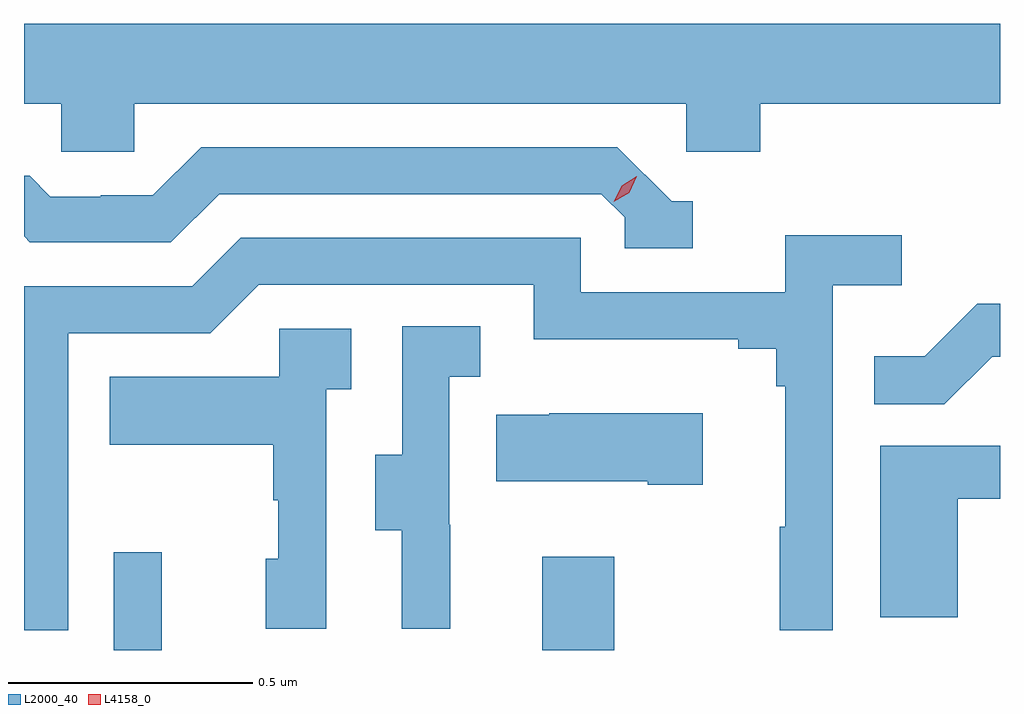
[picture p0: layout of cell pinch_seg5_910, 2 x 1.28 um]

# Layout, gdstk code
import gdstk
lib = gdstk.Library(unit=1e-6, precision=1e-09)
def R(c, l, rs):  # rectangles x0, y0, x1, y1
    for r in rs: c.add(gdstk.rectangle(r[:2], r[2:], *l))
def P(c, l, *ps):  # polygons
    for p in ps: c.add(gdstk.Polygon(p, *l))
L2000_40 = (2000, 40)
L4158_0 = (4158, 0)

pinch_seg5_910 = lib.new_cell('pinch_seg5_910')
R(pinch_seg5_910, L2000_40, [(878.835,880.948,878.933,881.149), (879.713,880.948,879.861,881.14)])
P(pinch_seg5_910, L2000_40, [(878.877,882.068),(880.008,882.068),(880.008,881.97),(880.16,881.97),(880.16,882.068),(880.651,882.068),(880.651,882.232),(878.651,882.232),(878.651,882.068),(878.727,882.068),(878.727,881.97),(878.877,881.97)],
  [(880.021,881.868),(879.978,881.868),(879.867,881.979),(879.014,881.979),(878.915,881.88),(878.808,881.88),(878.808,881.877),(878.705,881.877),(878.663,881.92),(878.651,881.92),(878.651,881.796),(878.663,881.784),(878.952,881.784),(879.051,881.883),(879.834,881.883),(879.882,881.835),(879.882,881.772),(880.021,881.772)],
  [(878.742,881.598),(879.033,881.598),(879.132,881.697),(879.696,881.697),(879.696,881.585),(880.115,881.585),(880.115,881.566),(880.192,881.566),(880.192,881.489),(880.211,881.489),(880.211,881.201),(880.2,881.201),(880.2,880.989),(880.308,880.989),(880.308,881.696),(880.45,881.696),(880.45,881.798),(880.211,881.798),(880.211,881.682),(879.792,881.682),(879.792,881.793),(879.095,881.793),(878.996,881.694),(878.651,881.694),(878.651,880.989),(878.742,880.989)],
  [(880.635,881.55),(880.651,881.55),(880.651,881.658),(880.604,881.658),(880.497,881.551),(880.393,881.551),(880.393,881.452),(880.537,881.452)],
  [(879.524,881.205),(879.522,881.205),(879.522,881.509),(879.586,881.509),(879.586,881.612),(879.426,881.612),(879.426,881.349),(879.371,881.349),(879.371,881.194),(879.425,881.194),(879.425,880.992),(879.524,880.992)],
  [(879.27,881.483),(879.322,881.483),(879.322,881.607),(879.174,881.607),(879.174,881.509),(878.827,881.509),(878.827,881.369),(879.162,881.369),(879.162,881.255),(879.172,881.255),(879.172,881.136),(879.146,881.136),(879.146,880.992),(879.27,880.992)],
  [(880.042,881.434),(879.727,881.434),(879.727,881.431),(879.619,881.431),(879.619,881.294),(879.929,881.294),(879.929,881.287),(880.042,881.287)],
  [(880.564,881.259),(880.651,881.259),(880.651,881.367),(880.406,881.367),(880.406,881.016),(880.564,881.016)])
P(pinch_seg5_910, L4158_0, [(879.86,881.867),(879.86,881.867),(879.876,881.9),(879.907,881.919),(879.907,881.919),(879.907,881.919),(879.891,881.886),(879.86,881.867)])

lib.write_gds('pinch_seg5_910.gds')
